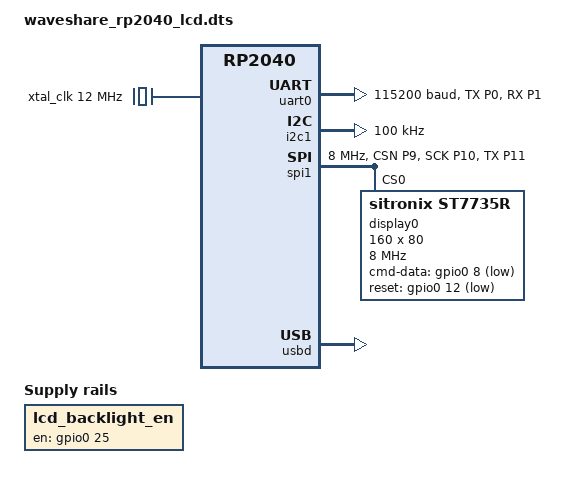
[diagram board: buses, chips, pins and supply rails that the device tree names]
/*
 * Copyright (c) 2023 Caspar Friedrich <c.s.w.friedrich@gmail.com>
 *
 * SPDX-License-Identifier: Apache-2.0
 */

/dts-v1/;

#include <freq.h>
#include <rpi_pico/rp2040.dtsi>
#include <zephyr/dt-bindings/i2c/i2c.h>
#include <zephyr/dt-bindings/pwm/pwm.h>
#include <zephyr/dt-bindings/pinctrl/rpi-pico-rp2040-pinctrl.h>

/ {
	chosen {
		zephyr,sram = &sram0;
		zephyr,flash = &flash0;
		zephyr,console = &uart0;
		zephyr,shell-uart = &uart0;
		zephyr,code-partition = &code_partition;
		zephyr,display = &display0;
	};

	lcd_backlight_en: lcd_backlight_en {
		compatible = "regulator-fixed";
		regulator-name = "lcd_backlight_enable";
		enable-gpios = <&gpio0 25 GPIO_ACTIVE_HIGH>;
		regulator-always-on;
	};

	xtal_clk: xtal-clk {
		compatible = "fixed-clock";
		clock-frequency = <12000000>;
		#clock-cells = <0>;
	};
};

&flash0 {
	reg = <0x10000000 DT_SIZE_M(2)>;

	partitions {
		compatible = "fixed-partitions";
		#address-cells = <1>;
		#size-cells = <1>;

		/* Reserved memory for the second stage bootloader */
		second_stage_bootloader: partition@0 {
			label = "second_stage_bootloader";
			reg = <0x00000000 0x100>;
			read-only;
		};

		/*
		 * Usable flash. Starts at 0x100, after the bootloader. The partition
		 * size is 2MB minus the 0x100 bytes taken by the bootloader.
		 */
		code_partition: partition@100 {
			label = "code-partition";
			reg = <0x100 (DT_SIZE_M(2) - 0x100)>;
			read-only;
		};
	};
};

&gpio0 {
	status = "okay";
};

&uart0 {
	current-speed = <115200>;
	pinctrl-0 = <&uart0_default>;
	pinctrl-names = "default";
	status = "okay";
};

&i2c1 {
	clock-frequency = <I2C_BITRATE_STANDARD>;
	pinctrl-0 = <&i2c1_default>;
	pinctrl-names = "default";
	status = "okay";
};

&spi1 {
	clock-frequency = <DT_FREQ_M(8)>;
	pinctrl-0 = <&spi1_default>;
	pinctrl-names = "default";
	status = "okay";

	display0: st7735@0 {
		compatible = "sitronix,st7735r";
		reg = <0x0>;
		spi-max-frequency = <DT_FREQ_M(8)>;
		cmd-data-gpios = <&gpio0 8 GPIO_ACTIVE_LOW>;
		reset-gpios = <&gpio0 12 GPIO_ACTIVE_LOW>;
		width = <160>;
		height = <80>;
		x-offset = <1>;
		y-offset = <26>;
		madctl = <120>;
		colmod = <5>;
		pwctr1 = [62 02 04];
		pwctr2 = [C0];
		pwctr3 = [0D 00];
		pwctr4 = [8D 6A];
		pwctr5 = [8D EE];
		gamctrp1 = [10 0E 02 03 0E 07 02 07 0A 12 27 37 00 0D 0E 10];
		gamctrn1 = [10 0E 03 03 0F 06 02 08 0A 13 26 36 00 0D 0E 10];
		frmctr1 = [05 3A 3A];
		frmctr2 = [05 3A 3A];
		frmctr3 = [05 3A 3A 05 3A 3A];
		caset = [00 01 00 a0];
		raset = [00 1a 00 69];
		vmctr1 = <14>;
		invctr = <3>;
	};
};

zephyr_udc0: &usbd {
	status = "okay";

	cdc_acm_uart0: cdc_acm_uart0 {
		compatible = "zephyr,cdc-acm-uart";
	};
};

&pinctrl {
	uart0_default: uart0_default {
		group1 {
			pinmux = <UART0_TX_P0>;
		};

		group2 {
			pinmux = <UART0_RX_P1>;
			input-enable;
		};
	};

	i2c1_default: i2c1_default {
		group1 {
			pinmux = <I2C1_SDA_P2>, <I2C1_SCL_P3>;
			input-enable;
			input-schmitt-enable;
		};
	};

	/*
	 * Display, tx only
	 */
	spi1_default: spi1_default {
		group1 {
			pinmux = <SPI1_CSN_P9>, <SPI1_SCK_P10>, <SPI1_TX_P11>;
		};
	};
};
